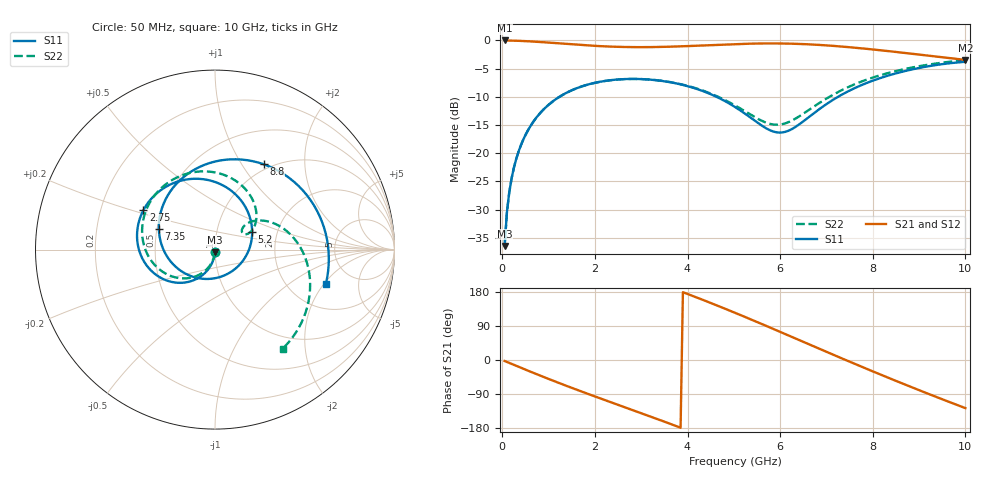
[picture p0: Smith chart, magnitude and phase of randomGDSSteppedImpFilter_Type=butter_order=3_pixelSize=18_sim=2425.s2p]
! freq	dB(S11)	phase(S11)	dB(S12)	phase(S12)
!  dB(S21)	phase(S21)	dB(S22)	phase(S22)
!S-par simulation data
#  GHz  S  DB  R 50
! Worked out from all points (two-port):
!   200 points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, 50 MHz to 10 GHz, reference 50 ohm
!   highest |S21| = -0.01 dB at 50 MHz (marker M1); lowest = -3.5 dB at 10 GHz (marker M2)
!   |S21| within 3 dB of the highest: start of sweep to 9.515 GHz
!   lowest |S11| = -36.5 dB at 50 MHz (marker M3), VSWR 1.03, Z = 49.9 - j1.5 ohm
!   |S11| at or under -10 dB: start of sweep to 1.234 GHz; 4.625 GHz to 7.25 GHz (2.625 GHz wide, 44.2 % of centre)
!   |S22| runs from -36.5 to -3.5 dB; largest |S21 - S12| = 0
!   S11 on the Smith chart (normalised r, x): 50 MHz: 1.00, -0.03; 2.75 GHz: 0.40, +0.22; 5.2 GHz: 1.48, +0.32; 7.35 GHz: 0.51, +0.13; 8.8 GHz: 0.93, +1.26; 10 GHz: 3.19, -2.09
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0.05  -36.47 -92.3  -0.01 -2.6  -0.01 -2.6  -36.49 -92.7
0.1  -30.47 -94.8  -0.01 -5.2  -0.01 -5.2  -30.48 -95.6
0.2  -24.50 -99.7  -0.03 -10.2  -0.03 -10.2  -24.51 -101.4
0.5  -16.78 -113.8  -0.13 -25.4  -0.13 -25.4  -16.79 -118.0
1.1  -10.75 -140.9  -0.45 -54.8  -0.45 -54.8  -10.76 -149.9
1.75  -8.07 -168.4  -0.84 -85.0  -0.84 -85.0  -8.07 177.2
2.25  -7.15 171.3  -1.07 -107.3  -1.07 -107.3  -7.15 152.9
2.75  -6.83 151.2  -1.18 -129.3  -1.18 -129.3  -6.83 129.0
3.4  -7.13 124.3  -1.16 -158.2  -1.16 -158.2  -7.12 98.5
3.85  -7.80 104.4  -1.05 -178.7  -1.05 -178.7  -7.76 77.8
4.25  -8.74 85.1  -0.92 162.5  -0.92 162.5  -8.67 60.2
5.05  -11.94 37.4  -0.65 123.3  -0.65 123.3  -11.64 31.7
5.2  -12.76 25.9  -0.61 115.7  -0.61 115.7  -12.37 28.4
5.6  -15.09 -11.8  -0.54 95.2  -0.54 95.2  -14.25 26.2
5.95  -16.33 -56.0  -0.54 76.9  -0.54 76.9  -14.95 32.1
6.7  -13.08 -146.7  -0.73 37.3  -0.73 37.3  -11.89 37.7
7.35  -9.53 159.7  -1.10 3.3  -1.10 3.3  -8.74 23.0
7.85  -7.61 124.1  -1.48 -22.4  -1.48 -22.4  -7.01 7.8
8.35  -6.19 90.2  -1.91 -47.6  -1.91 -47.6  -5.74 -7.8
8.8  -5.23 60.3  -2.32 -69.9  -2.32 -69.9  -4.89 -21.5
9.45  -4.27 17.9  -2.94 -101.2  -2.94 -101.2  -3.99 -40.4
10  -3.79 -17.2  -3.46 -127.0  -3.46 -127.0  -3.50 -55.7
